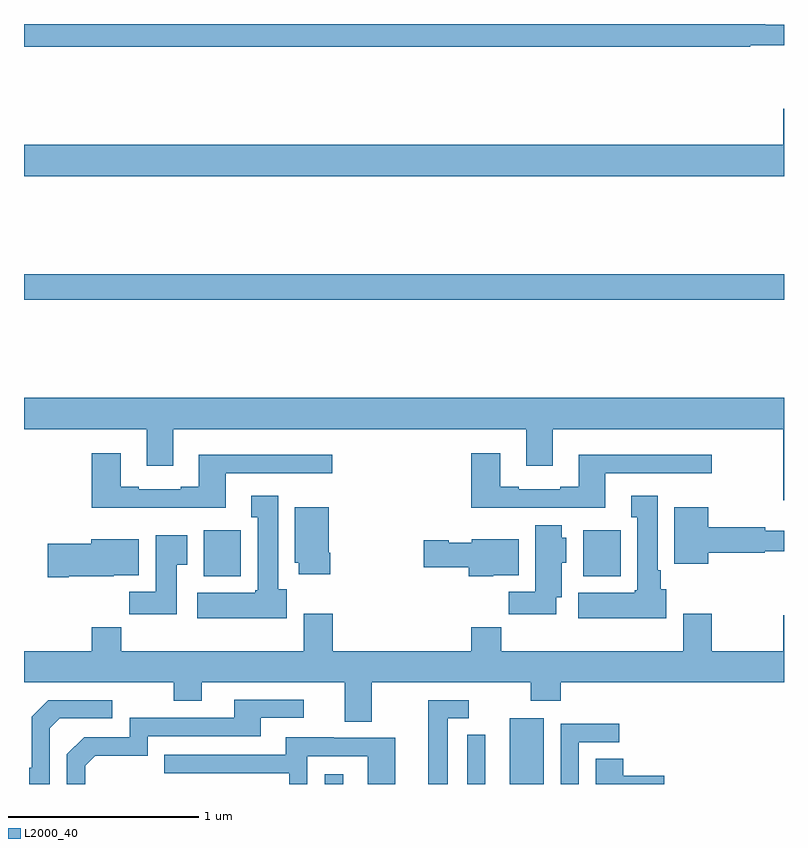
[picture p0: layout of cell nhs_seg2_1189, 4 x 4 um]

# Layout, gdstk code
import gdstk
lib = gdstk.Library(unit=1e-6, precision=1e-09)
def R(c, l, rs):  # rectangles x0, y0, x1, y1
    for r in rs: c.add(gdstk.rectangle(r[:2], r[2:], *l))
def P(c, l, *ps):  # polygons
    for p in ps: c.add(gdstk.Polygon(p, *l))
L2000_40 = (2000, 40)

nhs_seg2_1189 = lib.new_cell('nhs_seg2_1189')
R(nhs_seg2_1189, L2000_40, [(174.582,613.8,174.679,613.852), (175.556,613.8,175.735,614.146), (173.945,614.894,174.142,615.136), (175.943,614.894,176.14,615.136), (173,616.348,177,616.484)])
P(nhs_seg2_1189, L2000_40, [(176.822,617.688),(177,617.688),(177,617.797),(176.9,617.797),(176.9,617.8),(173,617.8),(173,617.68),(176.822,617.68)],
  [(177,617.353),(176.996,617.353),(176.996,617.164),(173,617.164),(173,617),(177,617)],
  [(177,615.832),(173,615.832),(173,615.668),(173.645,615.668),(173.645,615.474),(173.785,615.474),(173.785,615.668),(175.643,615.668),(175.643,615.474),(175.783,615.474),(175.783,615.668),(176.996,615.668),(176.996,615.294),(177,615.294)],
  [(175.599,615.255),(176.059,615.255),(176.059,615.435),(176.62,615.435),(176.62,615.532),(175.919,615.532),(175.919,615.364),(175.823,615.364),(175.823,615.351),(175.603,615.351),(175.603,615.364),(175.507,615.364),(175.507,615.541),(175.355,615.541),(175.355,615.254),(175.599,615.254)],
  [(174.061,615.435),(174.622,615.435),(174.622,615.532),(173.921,615.532),(173.921,615.364),(173.825,615.364),(173.825,615.351),(173.605,615.351),(173.605,615.364),(173.509,615.364),(173.509,615.541),(173.357,615.541),(173.357,615.254),(174.061,615.254)],
  [(174.382,614.826),(174.337,614.826),(174.337,615.316),(174.197,615.316),(174.197,615.203),(174.23,615.203),(174.23,614.82),(174.217,614.82),(174.217,614.806),(173.913,614.806),(173.913,614.672),(174.382,614.672)],
  [(176.38,614.826),(176.35,614.826),(176.35,614.926),(176.335,614.926),(176.335,615.316),(176.195,615.316),(176.195,615.203),(176.228,615.203),(176.228,614.82),(176.215,614.82),(176.215,614.806),(175.916,614.806),(175.916,614.672),(176.38,614.672)],
  [(174.612,615.016),(174.604,615.016),(174.604,615.256),(174.425,615.256),(174.425,614.964),(174.446,614.964),(174.446,614.904),(174.612,614.904)],
  [(176.602,615.016),(176.898,615.016),(176.898,615.024),(177,615.024),(177,615.133),(176.9,615.133),(176.9,615.152),(176.602,615.152),(176.602,615.256),(176.423,615.256),(176.423,614.96),(176.602,614.96)],
  [(175.801,614.783),(175.831,614.783),(175.831,614.964),(175.855,614.964),(175.855,615.096),(175.831,615.096),(175.831,615.163),(175.691,615.163),(175.691,614.812),(175.552,614.812),(175.552,614.694),(175.801,614.694)],
  [(173.803,614.953),(173.86,614.953),(173.86,615.109),(173.693,615.109),(173.693,614.812),(173.554,614.812),(173.554,614.694),(173.803,614.694)],
  [(175.47,614.9),(175.603,614.9),(175.603,615.088),(175.356,615.088),(175.356,615.07),(175.236,615.07),(175.236,615.083),(175.104,615.083),(175.104,614.941),(175.34,614.941),(175.34,614.894),(175.47,614.894)],
  [(173.236,614.894),(173.472,614.894),(173.472,614.9),(173.605,614.9),(173.605,615.088),(173.354,615.088),(173.354,615.065),(173.124,615.065),(173.124,614.887),(173.236,614.887)],
  [(174.829,614.336),(175.666,614.336),(175.666,614.237),(175.826,614.237),(175.826,614.336),(177,614.336),(177,614.689),(176.996,614.689),(176.996,614.5),(176.619,614.5),(176.619,614.695),(176.471,614.695),(176.471,614.5),(175.511,614.5),(175.511,614.624),(175.355,614.624),(175.355,614.5),(174.626,614.5),(174.626,614.695),(174.473,614.695),(174.473,614.5),(173.513,614.5),(173.513,614.624),(173.357,614.624),(173.357,614.5),(173,614.5),(173,614.336),(173.788,614.336),(173.788,614.237),(173.935,614.237),(173.935,614.336),(174.689,614.336),(174.689,614.128),(174.829,614.128)],
  [(173.322,613.896),(173.375,613.949),(173.652,613.949),(173.652,614.052),(174.247,614.052),(174.247,614.148),(174.472,614.148),(174.472,614.244),(174.107,614.244),(174.107,614.148),(173.556,614.148),(173.556,614.046),(173.316,614.046),(173.226,613.956),(173.226,613.8),(173.322,613.8)],
  [(173.136,614.094),(173.187,614.145),(173.464,614.145),(173.464,614.241),(173.127,614.241),(173.04,614.154),(173.04,613.885),(173.028,613.885),(173.028,613.8),(173.136,613.8)],
  [(175.231,614.145),(175.342,614.145),(175.342,614.241),(175.127,614.241),(175.127,613.8),(175.231,613.8)],
  [(175.92,614.019),(176.134,614.019),(176.134,614.118),(175.824,614.118),(175.824,613.8),(175.92,613.8)],
  [(175.427,613.906),(175.428,613.906),(175.428,614.06),(175.332,614.06),(175.332,613.8),(175.427,613.8)],
  [(174.492,613.947),(174.81,613.947),(174.81,613.8),(174.955,613.8),(174.955,614.043),(174.631,614.043),(174.631,614.047),(174.377,614.047),(174.377,613.953),(173.737,613.953),(173.737,613.857),(174.396,613.857),(174.396,613.8),(174.492,613.8)],
  [(176.371,613.844),(176.153,613.844),(176.153,613.934),(176.009,613.934),(176.009,613.8),(176.371,613.8)])

lib.write_gds('nhs_seg2_1189.gds')
